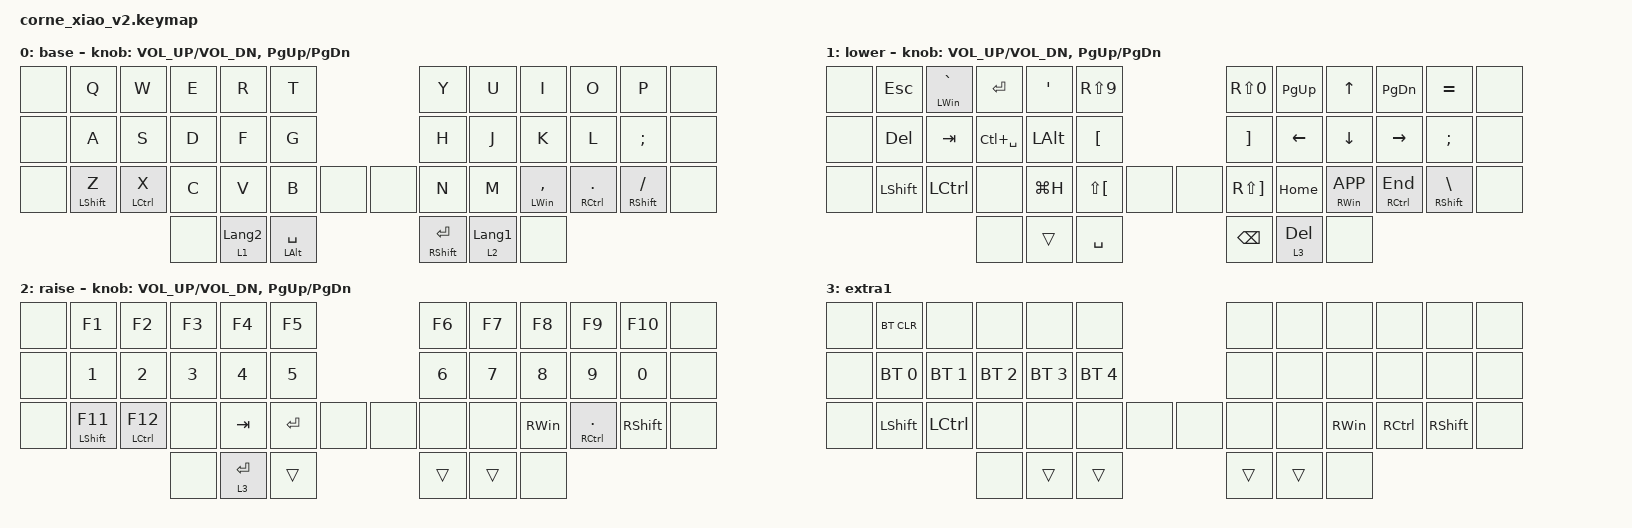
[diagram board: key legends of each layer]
#include <behaviors.dtsi>
#include <dt-bindings/zmk/bt.h>
#include <dt-bindings/zmk/keys.h>

&mt { tapping-term-ms = <150>; };

/ {
    combos {
        compatible = "zmk,combos";

        combo_studio_unlock {
            timeout-ms = <50>;
            key-positions = <1 2>;
            bindings = <&studio_unlock>;
        };
    };
};

/ {
    keymap {
        compatible = "zmk,keymap";

        default_layer {
            display-name = "base";
            sensor-bindings = <&inc_dec_kp C_VOL_UP C_VOL_DN &inc_dec_kp PG_UP PG_DN>;
            bindings = <
&none  &kp Q             &kp W               &kp E  &kp R             &kp T                             &kp Y                  &kp U             &kp I               &kp O                     &kp P                  &none
&none  &kp A             &kp S               &kp D  &kp F             &kp G                             &kp H                  &kp J             &kp K               &kp L                     &kp SEMI               &none
&none  &mt LEFT_SHIFT Z  &mt LEFT_CONTROL X  &kp C  &kp V             &kp B               &none  &none  &kp N                  &kp M             &mt LEFT_WIN COMMA  &mt RIGHT_CONTROL PERIOD  &mt RIGHT_SHIFT SLASH  &none
                                             &none  &lt 1 LANGUAGE_2  &mt LEFT_ALT SPACE                &mt RIGHT_SHIFT ENTER  &lt 2 LANGUAGE_1  &none
            >;
        };

        lower_layer {
            display-name = "lower";
            sensor-bindings = <&inc_dec_kp C_VOL_UP C_VOL_DN &inc_dec_kp PG_UP PG_DN>;
            bindings = <
&none  &kp ESCAPE      &mt LEFT_WIN GRAVE  &kp ENTER      &kp SINGLE_QUOTE  &kp RS(N9)                          &kp RS(N0)             &kp PAGE_UP   &kp UP_ARROW         &kp PAGE_DOWN  &kp EQUAL                  &none
&none  &kp DELETE      &kp TAB             &kp LC(SPACE)  &kp LEFT_ALT      &kp LEFT_BRACKET                    &kp RIGHT_BRACKET      &kp LEFT      &kp DOWN             &kp RIGHT      &kp SEMICOLON              &none
&none  &kp LEFT_SHIFT  &kp LEFT_CONTROL    &none          &kp LG(H)         &kp LS(LEFT_BRACKET)  &none  &none  &kp RS(RIGHT_BRACKET)  &kp HOME      &mt RIGHT_WIN K_APP  &mt RCTRL END  &mt RIGHT_SHIFT BACKSLASH  &none
                                           &none          &trans            &kp SPACE                           &kp BACKSPACE          &lt 3 DELETE  &none
            >;
        };

        raise_layer {
            display-name = "raise";
            sensor-bindings = <&inc_dec_kp C_VOL_UP C_VOL_DN &inc_dec_kp PG_UP PG_DN>;
            bindings = <
&none  &kp F1              &kp F2                &kp F3        &kp F4        &kp F5                   &kp F6        &kp F7  &kp F8         &kp F9                    &kp F10          &none
&none  &kp NUMBER_1        &kp NUMBER_2          &kp NUMBER_3  &kp NUMBER_4  &kp N5                   &kp NUMBER_6  &kp N7  &kp N8         &kp N9                    &kp N0           &none
&none  &mt LEFT_SHIFT F11  &mt LEFT_CONTROL F12  &none         &kp TAB       &kp ENTER  &none  &none  &none         &none   &kp RIGHT_WIN  &mt RIGHT_CONTROL PERIOD  &kp RIGHT_SHIFT  &none
                                                 &none         &lt 3 ENTER   &trans                   &trans        &trans  &none
            >;
        };

        extra1 {
            display-name = "extra1";
            status = "reserved";
            bindings = <
&none  &none       &none             &none  &none   &none                 &none   &none   &none          &none              &kp PRINTSCREEN  &none
&none  &none       &none             &none  &none   &none                 &none   &none   &none          &none              &mo 4            &none
&none  &kp LSHIFT  &kp LEFT_CONTROL  &none  &none   &none   &none  &none  &none   &none   &kp RIGHT_WIN  &kp RIGHT_CONTROL  &kp RIGHT_SHIFT  &none
                                     &none  &trans  &trans                &trans  &trans  &none
            >;
        };

        extra2 {
            display-name = "extra1";
            bindings = <
&none  &bt BT_CLR    &none             &none         &none         &none                       &none   &none   &none          &none              &none            &none
&none  &bt BT_SEL 0  &bt BT_SEL 1      &bt BT_SEL 2  &bt BT_SEL 3  &bt BT_SEL 4                &none   &none   &none          &none              &none            &none
&none  &kp LSHIFT    &kp LEFT_CONTROL  &none         &none         &none         &none  &none  &none   &none   &kp RIGHT_WIN  &kp RIGHT_CONTROL  &kp RIGHT_SHIFT  &none
                                       &none         &trans        &trans                      &trans  &trans  &none
            >;
        };
    };
};
